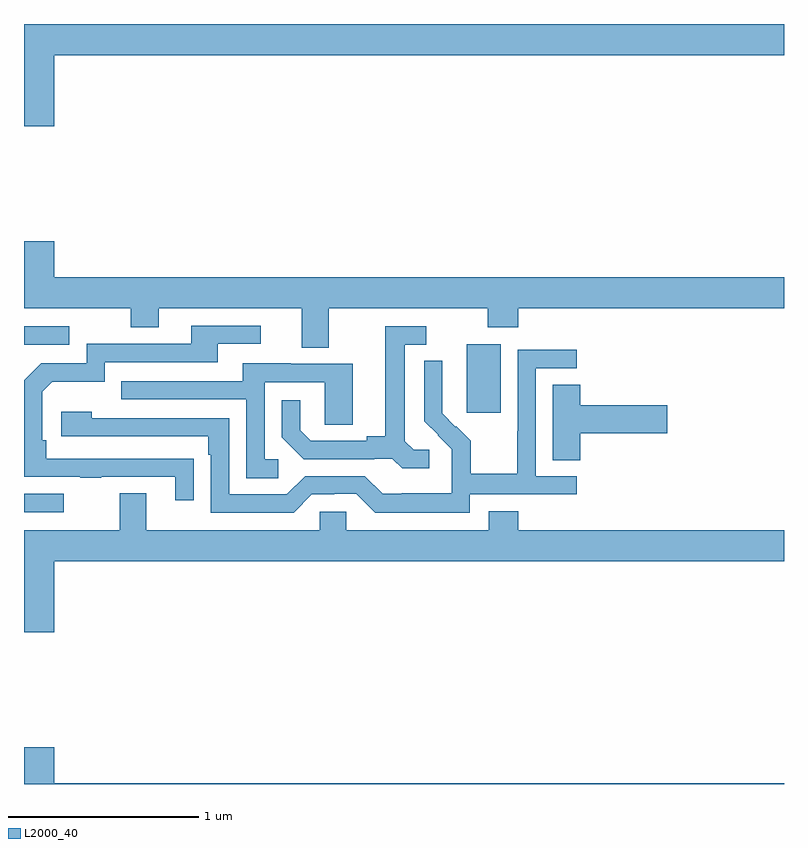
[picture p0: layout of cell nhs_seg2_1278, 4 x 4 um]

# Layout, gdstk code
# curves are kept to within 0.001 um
import gdstk
lib = gdstk.Library(unit=1e-6, precision=1e-09)
def R(c, l, rs):  # rectangles x0, y0, x1, y1
    for r in rs: c.add(gdstk.rectangle(r[:2], r[2:], *l))
def P(c, l, *ps):  # polygons
    for p in ps: c.add(gdstk.Polygon(p, *l))
L2000_40 = (2000, 40)

nhs_seg2_1278 = lib.new_cell('nhs_seg2_1278')
R(nhs_seg2_1278, L2000_40, [(177,645.231,177.208,645.327), (179.33,645.753,179.509,646.114), (177,646.113,177.238,646.209)])
P(nhs_seg2_1278, L2000_40, [(177.16,647.636),(181,647.636),(181,647.8),(177,647.8),(177,647.262),(177.16,647.262)],
  [(178.603,646.304),(179.44,646.304),(179.44,646.205),(179.6,646.205),(179.6,646.304),(181,646.304),(181,646.468),(177.16,646.468),(177.16,646.657),(177,646.657),(177,646.304),(177.562,646.304),(177.562,646.205),(177.709,646.205),(177.709,646.304),(178.463,646.304),(178.463,646.096),(178.603,646.096)],
  [(177.893,645.512),(177.116,645.513),(177.116,645.61),(177.096,645.61),(177.096,645.864),(177.149,645.917),(177.426,645.917),(177.426,646.02),(178.021,646.02),(178.021,646.116),(178.246,646.116),(178.246,646.212),(177.881,646.212),(177.881,646.116),(177.33,646.116),(177.33,646.014),(177.09,646.014),(177,645.924),(177,645.417),(177.295,645.417),(177.295,645.412),(177.407,645.412),(177.407,645.417),(177.797,645.417),(177.797,645.294),(177.893,645.294)],
  [(179.134,645.558),(179.052,645.558),(179.005,645.605),(179.005,646.113),(179.116,646.113),(179.116,646.209),(178.901,646.209),(178.901,645.629),(178.805,645.629),(178.805,645.606),(178.51,645.606),(178.453,645.663),(178.453,645.82),(178.356,645.82),(178.356,645.626),(178.472,645.51),(178.844,645.51),(178.844,645.513),(178.938,645.513),(178.99,645.461),(179.134,645.461)],
  [(179.346,645.324),(179.908,645.324),(179.908,645.42),(179.694,645.42),(179.694,645.987),(179.908,645.987),(179.908,646.086),(179.598,646.086),(179.598,645.656),(179.596,645.656),(179.596,645.433),(179.351,645.433),(179.351,645.607),(179.274,645.684),(179.271,645.681),(179.201,645.752),(179.202,646.028),(179.106,646.028),(179.106,645.71),(179.252,645.562),(179.252,645.465),(179.25,645.465),(179.25,645.331),(178.987,645.331),(178.987,645.327),(178.887,645.327),(178.794,645.42),(178.479,645.42),(178.383,645.324),(178.08,645.324),(178.08,645.726),(177.356,645.726),(177.356,645.76),(177.195,645.76),(177.195,645.63),(177.971,645.63),(177.971,645.533),(177.984,645.533),(177.984,645.228),(178.419,645.228),(178.515,645.324),(178.634,645.324),(178.634,645.327),(178.749,645.327),(178.849,645.227),(179.346,645.227)],
  [(178.339,645.51),(178.266,645.51),(178.266,645.915),(178.584,645.915),(178.584,645.691),(178.729,645.691),(178.729,646.011),(178.405,646.011),(178.405,646.015),(178.151,646.015),(178.151,645.921),(177.511,645.921),(177.511,645.825),(178.17,645.825),(178.17,645.409),(178.339,645.409)],
  [(179.927,645.647),(180.385,645.647),(180.385,645.794),(179.927,645.794),(179.927,645.902),(179.783,645.902),(179.783,645.505),(179.927,645.505)],
  [(177.16,644.972),(181,644.972),(181,645.136),(179.6,645.136),(179.6,645.235),(179.447,645.235),(179.447,645.136),(178.695,645.136),(178.695,645.234),(178.557,645.234),(178.557,645.136),(177.643,645.136),(177.643,645.331),(177.503,645.331),(177.503,645.136),(177,645.136),(177,644.598),(177.16,644.598)],
  [(181,643.804),(177.16,643.804),(177.16,643.993),(177,643.993),(177,643.8),(181,643.8)])

lib.write_gds('nhs_seg2_1278.gds')
